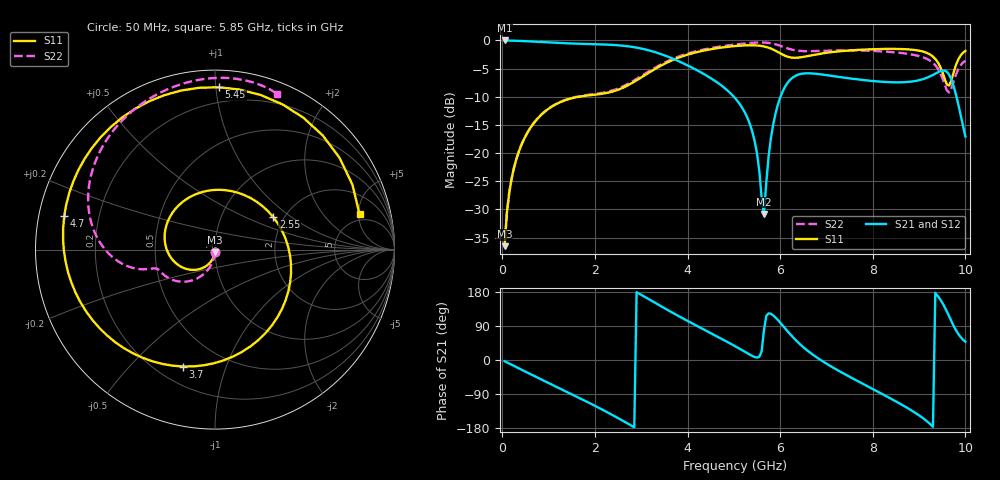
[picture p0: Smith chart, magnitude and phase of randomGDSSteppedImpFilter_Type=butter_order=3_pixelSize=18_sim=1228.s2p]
! freq	dB(S11)	phase(S11)	dB(S12)	phase(S12)
!  dB(S21)	phase(S21)	dB(S22)	phase(S22)
!S-par simulation data
#  GHz  S  DB  R 50
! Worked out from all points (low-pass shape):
!   200 points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, 50 MHz to 10 GHz, reference 50 ohm
!   highest |S21| = -0.01 dB at 50 MHz (marker M1); lowest = -30.8 dB at 5.65 GHz (marker M2)
!   |S21| within 3 dB of the highest: start of sweep to 3.615 GHz
!   lowest |S11| = -36.5 dB at 50 MHz (marker M3), VSWR 1.03, Z = 49.9 - j1.49 ohm
!   |S11| at or under -10 dB: start of sweep to 1.648 GHz
!   |S22| runs from -36.5 to -0.4 dB; largest |S21 - S12| = 0
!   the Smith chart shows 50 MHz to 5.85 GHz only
!   S11 on the Smith chart (normalised r, x): 50 MHz: 1.00, -0.03; 2.55 GHz: 1.77, +0.74; 3.7 GHz: 0.30, -0.72; 4.7 GHz: 0.08, +0.11; 5.45 GHz: 0.10, +1.02; 5.85 GHz: 4.09, +5.15
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0.05  -36.51 -93.6  -0.01 -3.1  -0.01 -3.1  -36.48 -92.1
0.2  -24.58 -105.6  -0.04 -12.4  -0.04 -12.4  -24.56 -99.4
0.5  -17.01 -129.2  -0.13 -30.8  -0.13 -30.8  -16.99 -113.3
1.75  -9.87 124.6  -0.61 -105.5  -0.61 -105.5  -9.78 -156.5
2.55  -8.59 29.0  -0.90 -156.7  -0.90 -156.7  -8.36 -163.6
3.4  -4.60 -75.1  -2.35 143.7  -2.35 143.7  -4.38 -179.1
3.7  -3.41 -105.3  -3.29 123.1  -3.29 123.1  -3.21 169.9
4.7  -1.31 167.6  -7.80 58.2  -7.80 58.2  -1.09 127.3
5.05  -0.98 135.5  -10.46 34.8  -10.46 34.8  -0.71 111.3
5.45  -0.87 88.6  -17.88 7.9  -17.88 7.9  -0.40 91.3
5.65  -1.06 56.2  -30.79 78.2  -30.79 78.2  -0.37 80.1
5.85  -1.62 13.7  -14.92 117.7  -14.92 117.7  -0.58 68.3
6  -2.28 -25.3  -10.15 98.8  -10.15 98.8  -0.95 59.9
6.2  -2.97 -80.7  -7.12 70.4  -7.12 70.4  -1.51 50.9
6.45  -2.99 -138.9  -5.94 39.3  -5.94 39.3  -1.87 41.4
6.7  -2.60 -179.6  -5.87 14.6  -5.87 14.6  -1.90 30.8
7.45  -1.81 108.8  -6.68 -41.0  -6.68 -41.0  -1.76 -9.8
8.35  -1.50 52.6  -7.41 -99.3  -7.41 -99.3  -2.02 -71.1
8.85  -1.65 24.8  -7.29 -134.1  -7.29 -134.1  -2.51 -112.2
9.4  -3.82 -9.0  -5.68 169.5  -5.68 169.5  -4.93 -169.2
9.65  -8.01 8.6  -6.10 114.8  -6.10 114.8  -9.23 -169.0
10  -1.86 6.7  -17.05 48.3  -17.05 48.3  -3.61 168.6
